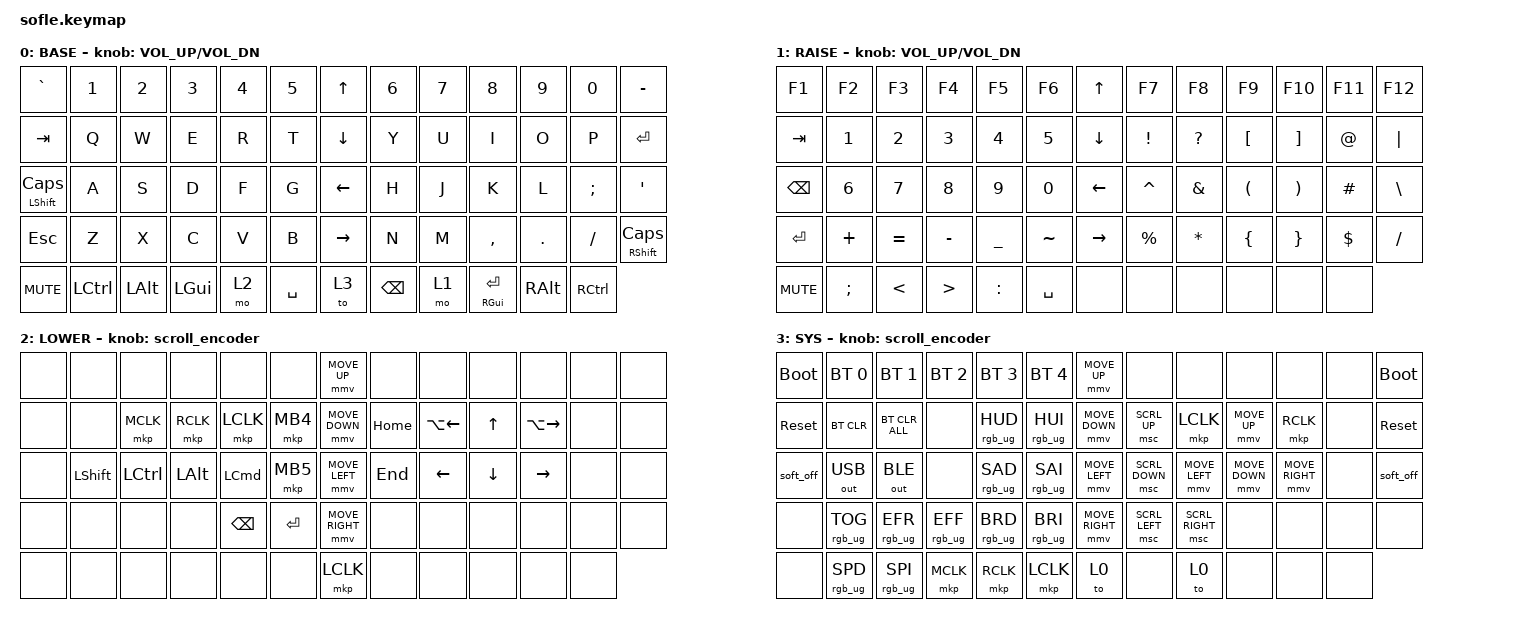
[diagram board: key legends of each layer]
// NOTE: must be defined BEFORE <dt-bindings/zmk/mouse.h> is included,
// otherwise the header's #ifndef defaults win and cpp emits -Wmacro-redefined.
// (On modern ZMK these are ZMK_POINTING_DEFAULT_MOVE_VAL / _SCRL_VAL.)

#define ZMK_MOUSE_DEFAULT_MOVE_VAL 900  // default: 600  -> max cursor velocity
#define ZMK_MOUSE_DEFAULT_SCRL_VAL 20    // default: 10   -> max scroll velocity

#include <behaviors/mouse_keys.dtsi>
#include <dt-bindings/zmk/mouse.h>
#include <behaviors.dtsi>
#include <dt-bindings/zmk/bt.h>
#include <dt-bindings/zmk/keys.h>
#include <dt-bindings/zmk/outputs.h>
#include <dt-bindings/zmk/rgb.h>

/ {
    behaviors {
        ltq: ltq {
            compatible = "zmk,behavior-hold-tap";
            label = "LTQ";
            bindings = <&mo>, <&kp>;

            #binding-cells = <2>;
            tapping-term-ms = <200>;
            quick-tap-ms = <180>;
        };

        // Cursor speed. velocity(t) = max * (t / time-to-max-speed-ms)^acceleration-exponent
        // so a big time-to-max-speed-ms makes short presses crawl.

        mmv {
            acceleration-exponent = <2>;      // 1 = linear ramp; raise for fine control at low speed
            time-to-max-speed-ms = <300>;     // was 900 (ZMK default: 300)
            delay-ms = <0>;                   // 0
        };

        msc {
            acceleration-exponent = <1>;      // 1
            time-to-max-speed-ms = <100>;     // was 1200 (ZMK default: 300)
            delay-ms = <0>;                   // 0
        };
    };

    scroll_encoder: scroll_encoder {
        compatible = "zmk,behavior-sensor-rotate";
        #sensor-binding-cells = <0>;
        bindings = <&msc SCRL_UP>, <&msc SCRL_DOWN>;

        tap-ms = <30>;
    };

    keymap {
        compatible = "zmk,keymap";

        layer_0 {
            bindings = <
&kp GRAVE       &kp N1     &kp N2        &kp N3    &kp N4  &kp N5       &kp UP_ARROW     &kp N6         &kp N7  &kp N8        &kp N9    &kp N0     &kp MINUS
&kp TAB         &kp Q      &kp W         &kp E     &kp R   &kp T        &kp DOWN_ARROW   &kp Y          &kp U   &kp I         &kp O     &kp P      &kp ENTER
&mt LSHFT CAPS  &kp A      &kp S         &kp D     &kp F   &kp G        &kp LEFT_ARROW   &kp H          &kp J   &kp K         &kp L     &kp SEMI   &kp APOS
&kp ESC         &kp Z      &kp X         &kp C     &kp V   &kp B        &kp RIGHT_ARROW  &kp N          &kp M   &kp COMMA     &kp DOT   &kp FSLH   &mt RSHFT CAPS
&kp C_MUTE      &kp LCTRL  &kp LEFT_ALT  &kp LGUI  &mo 2   &kp SPACE    &to 3            &kp BACKSPACE  &mo 1   &mt RGUI RET  &kp RALT  &kp RCTRL
            >;

            sensor-bindings = <&inc_dec_kp C_VOL_UP C_VOL_DN>;
            display-name = "BASE";
        };

        layer_1 {
            bindings = <
&kp F1      &kp F2    &kp F3     &kp F4     &kp F5     &kp F6       &kp UP     &kp F7     &kp F8     &kp F9    &kp F10   &kp F11   &kp F12
&kp TAB     &kp N1    &kp N2     &kp N3     &kp N4     &kp N5       &kp DOWN   &kp EXCL   &kp QMARK  &kp LBKT  &kp RBKT  &kp AT    &kp PIPE
&kp BSPC    &kp N6    &kp N7     &kp N8     &kp N9     &kp N0       &kp LEFT   &kp CARET  &kp AMPS   &kp LPAR  &kp RPAR  &kp HASH  &kp BSLH
&kp RET     &kp PLUS  &kp EQUAL  &kp MINUS  &kp UNDER  &kp TILDE    &kp RIGHT  &kp PRCNT  &kp STAR   &kp LBRC  &kp RBRC  &kp DLLR  &kp FSLH
&kp C_MUTE  &kp SEMI  &kp LT     &kp GT     &kp COLON  &kp SPACE    &none      &none      &none      &none     &none     &none
            >;

            display-name = "RAISE";
            sensor-bindings = <&inc_dec_kp C_VOL_UP C_VOL_DN>;
        };

        layer_2 {
            bindings = <
&none  &none      &none      &none      &none      &none       &mmv MOVE_UP     &none     &none         &none     &none          &none  &none
&none  &none      &mkp MCLK  &mkp RCLK  &mkp LCLK  &mkp MB4    &mmv MOVE_DOWN   &kp HOME  &kp LA(LEFT)  &kp UP    &kp LA(RIGHT)  &none  &none
&none  &kp LSHFT  &kp LCTRL  &kp LALT   &kp LCMD   &mkp MB5    &mmv MOVE_LEFT   &kp END   &kp LEFT      &kp DOWN  &kp RIGHT      &none  &none
&none  &none      &none      &none      &kp BSPC   &kp RET     &mmv MOVE_RIGHT  &none     &none         &none     &none          &none  &none
&none  &none      &none      &none      &none      &none       &mkp LCLK        &none     &none         &none     &none          &none
            >;

            display-name = "LOWER";
            sensor-bindings = <&scroll_encoder>;
        };

        layer_3 {
            bindings = <
&bootloader  &bt BT_SEL 0     &bt BT_SEL 1     &bt BT_SEL 2     &bt BT_SEL 3     &bt BT_SEL 4       &mmv MOVE_UP     &none           &none            &none           &none            &none  &bootloader
&sys_reset   &bt BT_CLR       &bt BT_CLR_ALL   &none            &rgb_ug RGB_HUD  &rgb_ug RGB_HUI    &mmv MOVE_DOWN   &msc SCRL_UP    &mkp LCLK        &mmv MOVE_UP    &mkp RCLK        &none  &sys_reset
&soft_off    &out OUT_USB     &out OUT_BLE     &none            &rgb_ug RGB_SAD  &rgb_ug RGB_SAI    &mmv MOVE_LEFT   &msc SCRL_DOWN  &mmv MOVE_LEFT   &mmv MOVE_DOWN  &mmv MOVE_RIGHT  &none  &soft_off
&none        &rgb_ug RGB_TOG  &rgb_ug RGB_EFR  &rgb_ug RGB_EFF  &rgb_ug RGB_BRD  &rgb_ug RGB_BRI    &mmv MOVE_RIGHT  &msc SCRL_LEFT  &msc SCRL_RIGHT  &none           &none            &none  &none
&none        &rgb_ug RGB_SPD  &rgb_ug RGB_SPI  &mkp MCLK        &mkp RCLK        &mkp LCLK          &to 0            &none           &to 0            &none           &none            &none
            >;

            display-name = "SYS";
            sensor-bindings = <&scroll_encoder>;
        };
    };
};
